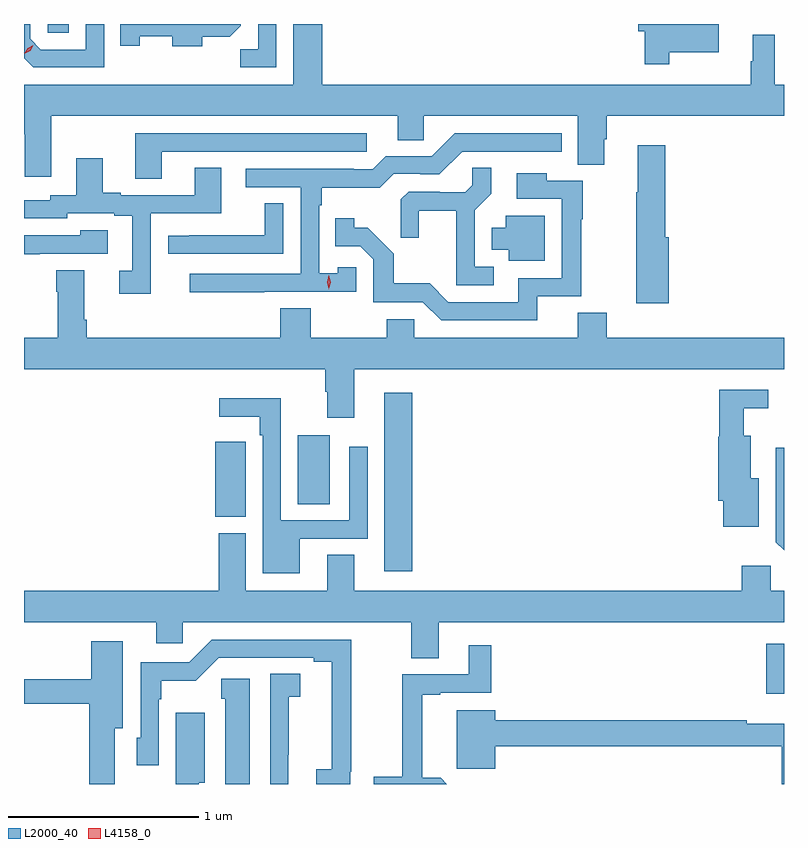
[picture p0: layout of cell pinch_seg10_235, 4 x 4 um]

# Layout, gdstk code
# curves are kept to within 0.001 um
import gdstk
lib = gdstk.Library(unit=1e-6, precision=1e-09)
def R(c, l, rs):  # rectangles x0, y0, x1, y1
    for r in rs: c.add(gdstk.rectangle(r[:2], r[2:], *l))
def P(c, l, *ps):  # polygons
    for p in ps: c.add(gdstk.Polygon(p, *l))
L2000_40 = (2000, 40)
L4158_0 = (4158, 0)

pinch_seg10_235 = lib.new_cell('pinch_seg10_235')
R(pinch_seg10_235, L2000_40, [(614.912,1297.274,615.005,1297.537), (612.902,1297.92,613.049,1298.86), (612.446,1298.272,612.613,1298.635), (611.13,1300.753,611.241,1300.8)])
P(pinch_seg10_235, L2000_40, [(611.149,1300.316),(612.971,1300.316),(612.971,1300.189),(613.11,1300.189),(613.11,1300.316),(613.919,1300.316),(613.919,1300.06),(614.059,1300.06),(614.059,1300.194),(614.072,1300.194),(614.072,1300.316),(615.005,1300.316),(615.005,1300.48),(614.957,1300.48),(614.957,1300.744),(614.84,1300.744),(614.84,1300.604),(614.829,1300.604),(614.829,1300.48),(612.575,1300.48),(612.575,1300.8),(612.422,1300.8),(612.422,1300.48),(611.005,1300.48),(611.005,1300.22),(611.009,1300.22),(611.009,1299.996),(611.149,1299.996)],
  [(614.401,1300.652),(614.662,1300.652),(614.662,1300.8),(614.238,1300.8),(614.238,1300.763),(614.272,1300.763),(614.272,1300.587),(614.401,1300.587)],
  [(611.427,1300.8),(611.331,1300.8),(611.331,1300.665),(611.094,1300.665),(611.037,1300.722),(611.037,1300.8),(611.005,1300.8),(611.005,1300.62),(611.054,1300.572),(611.427,1300.572)],
  [(611.944,1300.733),(612.088,1300.733),(612.147,1300.792),(612.147,1300.8),(611.512,1300.8),(611.512,1300.686),(611.613,1300.686),(611.613,1300.735),(611.786,1300.735),(611.786,1300.682),(611.944,1300.682)],
  [(612.333,1300.8),(612.237,1300.8),(612.237,1300.667),(612.142,1300.667),(612.142,1300.572),(612.333,1300.572)],
  [(611.731,1300.128),(612.808,1300.128),(612.808,1300.224),(611.591,1300.224),(611.591,1299.985),(611.731,1299.985)],
  [(612.269,1299.39),(612.753,1299.39),(612.753,1299.519),(612.657,1299.519),(612.657,1299.487),(612.558,1299.487),(612.558,1299.845),(612.571,1299.845),(612.571,1299.938),(612.878,1299.938),(612.951,1300.011),(613.09,1300.011),(613.09,1300.008),(613.191,1300.008),(613.311,1300.128),(613.834,1300.128),(613.834,1300.224),(613.272,1300.224),(613.152,1300.104),(612.909,1300.104),(612.84,1300.035),(612.74,1300.035),(612.74,1300.038),(612.171,1300.038),(612.171,1299.942),(612.462,1299.942),(612.462,1299.486),(611.877,1299.486),(611.877,1299.388),(612.269,1299.388)],
  [(614.399,1299.678),(614.381,1299.678),(614.381,1300.162),(614.234,1300.162),(614.234,1299.914),(614.227,1299.914),(614.227,1299.678),(614.228,1299.678),(614.228,1299.33),(614.399,1299.33)],
  [(611.673,1299.804),(612.043,1299.804),(612.043,1300.043),(611.903,1300.043),(611.903,1299.9),(611.515,1299.9),(611.515,1299.913),(611.419,1299.913),(611.419,1300.093),(611.279,1300.093),(611.279,1299.9),(611.142,1299.9),(611.142,1299.873),(611.005,1299.873),(611.005,1299.777),(611.232,1299.777),(611.232,1299.804),(611.48,1299.804),(611.48,1299.792),(611.576,1299.792),(611.576,1299.501),(611.505,1299.501),(611.505,1299.381),(611.673,1299.381)],
  [(613.477,1299.522),(613.377,1299.522),(613.377,1299.821),(613.463,1299.907),(613.463,1300.043),(613.365,1300.043),(613.365,1299.952),(613.328,1299.915),(613.194,1299.915),(613.194,1299.918),(613.029,1299.918),(612.988,1299.877),(612.988,1299.675),(613.082,1299.675),(613.082,1299.818),(613.28,1299.818),(613.28,1299.426),(613.477,1299.426)],
  [(613.706,1299.366),(613.937,1299.366),(613.937,1299.772),(613.945,1299.772),(613.945,1299.975),(613.755,1299.975),(613.755,1300.015),(613.599,1300.015),(613.599,1299.879),(613.836,1299.879),(613.836,1299.462),(613.607,1299.462),(613.607,1299.336),(613.239,1299.336),(613.141,1299.435),(612.952,1299.435),(612.952,1299.59),(612.814,1299.728),(612.744,1299.728),(612.744,1299.778),(612.643,1299.778),(612.643,1299.63),(612.774,1299.63),(612.843,1299.561),(612.843,1299.336),(613.104,1299.336),(613.2,1299.24),(613.706,1299.24)],
  [(612.369,1299.857),(612.271,1299.857),(612.271,1299.687),(611.875,1299.687),(611.875,1299.686),(611.763,1299.686),(611.763,1299.591),(612.369,1299.591)],
  [(613.747,1299.79),(613.541,1299.79),(613.541,1299.727),(613.466,1299.727),(613.466,1299.611),(613.556,1299.611),(613.556,1299.554),(613.747,1299.554)],
  [(611.087,1299.591),(611.446,1299.591),(611.446,1299.715),(611.301,1299.715),(611.301,1299.687),(611.005,1299.687),(611.005,1299.589),(611.087,1299.589)],
  [(612.742,1298.984),(615.005,1298.984),(615.005,1299.148),(614.072,1299.148),(614.072,1299.281),(613.919,1299.281),(613.919,1299.148),(613.059,1299.148),(613.059,1299.246),(612.913,1299.246),(612.913,1299.148),(612.513,1299.148),(612.513,1299.305),(612.353,1299.305),(612.353,1299.148),(611.336,1299.148),(611.336,1299.244),(611.323,1299.244),(611.323,1299.505),(611.176,1299.505),(611.176,1299.392),(611.183,1299.392),(611.183,1299.148),(611.005,1299.148),(611.005,1298.984),(612.59,1298.984),(612.59,1298.864),(612.602,1298.864),(612.602,1298.727),(612.742,1298.727)],
  [(614.872,1298.41),(614.83,1298.41),(614.83,1298.632),(614.794,1298.632),(614.794,1298.777),(614.923,1298.777),(614.923,1298.874),(614.665,1298.874),(614.665,1298.628),(614.66,1298.628),(614.66,1298.292),(614.684,1298.292),(614.684,1298.153),(614.872,1298.153)],
  [(612.457,1298.091),(612.813,1298.091),(612.813,1298.575),(612.717,1298.575),(612.717,1298.187),(612.357,1298.187),(612.357,1298.83),(612.033,1298.83),(612.033,1298.732),(612.245,1298.732),(612.245,1298.636),(612.261,1298.636),(612.261,1297.91),(612.457,1297.91)],
  [(612.172,1298.489),(612.171,1298.489),(612.171,1298.602),(612.011,1298.602),(612.011,1298.206),(612.172,1298.206)],
  [(615.005,1298.569),(614.961,1298.569),(614.961,1298.073),(615.005,1298.029)],
  [(613.189,1297.652),(615.005,1297.652),(615.005,1297.816),(614.934,1297.816),(614.934,1297.948),(614.783,1297.948),(614.783,1297.816),(612.742,1297.816),(612.742,1298.006),(612.602,1298.006),(612.602,1297.816),(612.172,1297.816),(612.172,1298.121),(612.029,1298.121),(612.029,1297.816),(611.005,1297.816),(611.005,1297.652),(611.702,1297.652),(611.702,1297.542),(611.841,1297.542),(611.841,1297.652),(613.042,1297.652),(613.042,1297.462),(613.189,1297.462)],
  [(612.722,1296.865),(612.728,1296.865),(612.728,1297.56),(611.994,1297.56),(611.874,1297.44),(611.619,1297.44),(611.619,1297.044),(611.598,1297.044),(611.598,1296.9),(611.715,1296.9),(611.715,1297.247),(611.728,1297.247),(611.728,1297.343),(611.909,1297.343),(612.03,1297.464),(612.53,1297.464),(612.53,1297.444),(612.626,1297.444),(612.625,1296.878),(612.543,1296.878),(612.543,1296.8),(612.722,1296.8)],
  [(611.482,1297.094),(611.524,1297.094),(611.524,1297.552),(611.36,1297.552),(611.36,1297.351),(611.005,1297.351),(611.005,1297.222),(611.348,1297.222),(611.348,1296.8),(611.482,1296.8)],
  [(613.199,1296.832),(613.1,1296.832),(613.1,1297.269),(613.195,1297.269),(613.195,1297.281),(613.463,1297.281),(613.463,1297.531),(613.346,1297.531),(613.346,1297.377),(612.997,1297.377),(612.997,1296.839),(612.846,1296.839),(612.846,1296.8),(613.231,1296.8)],
  [(612.397,1296.955),(612.399,1296.955),(612.399,1297.259),(612.46,1297.259),(612.46,1297.379),(612.3,1297.379),(612.3,1296.8),(612.397,1296.8)],
  [(612.193,1297.354),(612.043,1297.354),(612.043,1297.248),(612.065,1297.248),(612.065,1296.8),(612.193,1296.8)],
  [(615.005,1297.117),(614.809,1297.117),(614.809,1297.136),(613.486,1297.136),(613.486,1297.189),(613.283,1297.189),(613.283,1296.879),(613.486,1296.879),(613.486,1297),(614.993,1297),(614.993,1296.8),(615.005,1296.8)],
  [(611.924,1296.806),(611.956,1296.806),(611.956,1297.174),(611.804,1297.174),(611.804,1296.8),(611.924,1296.8)])
P(pinch_seg10_235, L4158_0, [(612.61,1299.405),(612.61,1299.406),(612.6,1299.441),(612.61,1299.477),(612.61,1299.477),(612.61,1299.477),(612.62,1299.441),(612.61,1299.406)],
  [(611.007,1300.643),(611.007,1300.643),(611.024,1300.673),(611.054,1300.688),(611.054,1300.688),(611.054,1300.688),(611.038,1300.658),(611.007,1300.643)])

lib.write_gds('pinch_seg10_235.gds')
